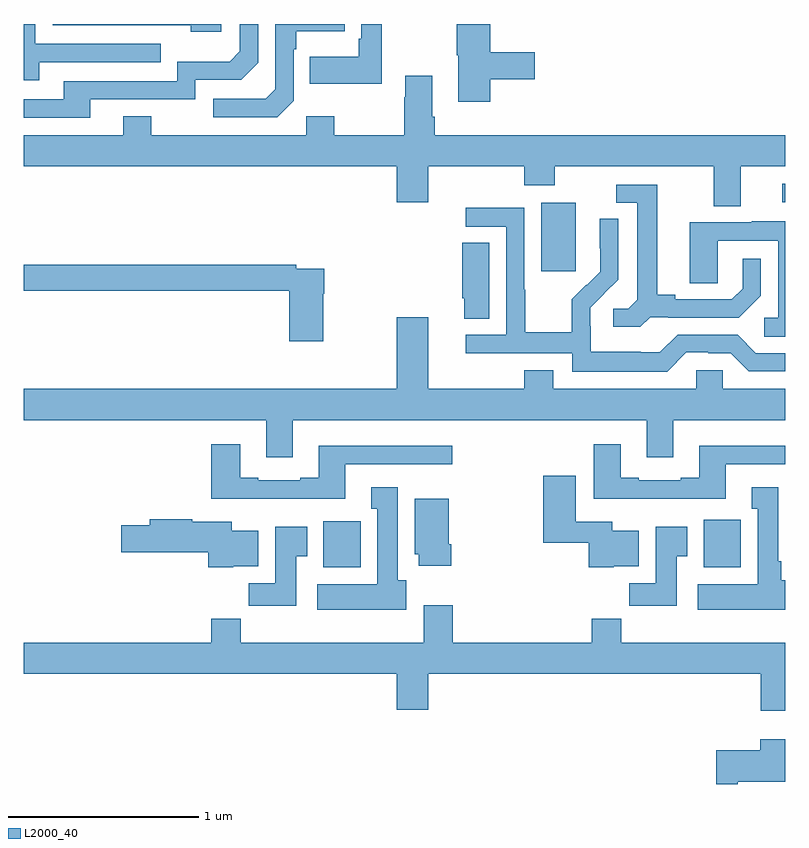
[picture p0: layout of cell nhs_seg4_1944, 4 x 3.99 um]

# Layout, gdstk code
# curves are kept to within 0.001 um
import gdstk
lib = gdstk.Library(unit=1e-6, precision=1e-09)
def R(c, l, rs):  # rectangles x0, y0, x1, y1
    for r in rs: c.add(gdstk.rectangle(r[:2], r[2:], *l))
def P(c, l, *ps):  # polygons
    for p in ps: c.add(gdstk.Polygon(p, *l))
L2000_40 = (2000, 40)

nhs_seg4_1944 = lib.new_cell('nhs_seg4_1944')
R(nhs_seg4_1944, L2000_40, [(212.573,796.046,212.77,796.288), (214.571,796.046,214.767,796.297), (213.719,797.601,213.898,797.962), (214.983,797.964,215,798.06)])
P(nhs_seg4_1944, L2000_40, [(213.449,798.61),(213.685,798.61),(213.685,798.752),(213.449,798.752),(213.449,798.9),(213.274,798.9),(213.274,798.735),(213.281,798.735),(213.281,798.492),(213.449,798.492)],
  [(212.418,798.498),(212.418,798.767),(212.431,798.767),(212.431,798.863),(212.687,798.863),(212.687,798.9),(212.322,798.9),(212.322,798.558),(212.271,798.507),(211.995,798.507),(211.995,798.411),(212.331,798.411)],
  [(211.081,798.699),(211.721,798.699),(211.721,798.795),(211.062,798.795),(211.062,798.9),(211,798.9),(211,798.605),(211.081,798.605)],
  [(212.881,798.9),(212.772,798.9),(212.772,798.823),(212.76,798.823),(212.76,798.727),(212.503,798.727),(212.503,798.587),(212.881,798.587)],
  [(212.038,798.9),(211.152,798.9),(211.152,798.894),(211.877,798.894),(211.877,798.86),(212.038,798.86)],
  [(211.351,798.504),(211.902,798.504),(211.902,798.606),(212.142,798.606),(212.232,798.696),(212.232,798.9),(212.136,798.9),(212.136,798.756),(212.083,798.703),(211.806,798.703),(211.806,798.6),(211.211,798.6),(211.211,798.504),(211,798.504),(211,798.408),(211.351,798.408)],
  [(214.765,798.152),(215,798.152),(215,798.316),(213.158,798.316),(213.158,798.412),(213.145,798.412),(213.145,798.628),(213.005,798.628),(213.005,798.515),(212.998,798.515),(212.998,798.316),(212.631,798.316),(212.631,798.415),(212.484,798.415),(212.484,798.316),(211.671,798.316),(211.671,798.415),(211.523,798.415),(211.523,798.316),(211,798.316),(211,798.152),(212.96,798.152),(212.96,797.964),(213.124,797.964),(213.124,798.152),(213.629,798.152),(213.629,798.053),(213.789,798.053),(213.789,798.152),(214.625,798.152),(214.625,797.944),(214.765,797.944)],
  [(214.29,797.361),(214.384,797.361),(214.384,797.358),(214.756,797.358),(214.872,797.474),(214.872,797.668),(214.775,797.668),(214.775,797.511),(214.718,797.454),(214.423,797.454),(214.423,797.477),(214.327,797.477),(214.327,798.057),(214.113,798.057),(214.113,797.961),(214.223,797.961),(214.223,797.453),(214.176,797.406),(214.095,797.406),(214.095,797.309),(214.238,797.309)],
  [(214.479,797.175),(214.595,797.175),(214.595,797.172),(214.713,797.172),(214.809,797.076),(215,797.076),(215,797.172),(214.845,797.172),(214.749,797.268),(214.434,797.268),(214.341,797.175),(214.241,797.175),(214.241,797.179),(213.978,797.179),(213.978,797.313),(213.976,797.313),(213.976,797.41),(214.122,797.558),(214.122,797.876),(214.026,797.876),(214.026,797.722),(214.028,797.722),(214.028,797.6),(213.957,797.529),(213.954,797.532),(213.877,797.455),(213.877,797.281),(213.633,797.281),(213.633,797.504),(213.63,797.504),(213.63,797.934),(213.321,797.934),(213.321,797.835),(213.534,797.835),(213.534,797.268),(213.321,797.268),(213.321,797.172),(213.882,797.172),(213.882,797.075),(214.379,797.075)],
  [(215,797.863),(214.823,797.863),(214.823,797.859),(214.499,797.859),(214.499,797.539),(214.644,797.539),(214.644,797.763),(214.962,797.763),(214.962,797.358),(214.89,797.358),(214.89,797.257),(215,797.257)],
  [(213.445,797.75),(213.302,797.75),(213.302,797.461),(213.314,797.461),(213.314,797.353),(213.445,797.353)],
  [(212.574,797.483),(212.579,797.483),(212.579,797.616),(212.432,797.616),(212.432,797.636),(211,797.636),(211,797.5),(212.396,797.5),(212.396,797.235),(212.574,797.235)],
  [(212.413,796.82),(214.271,796.82),(214.271,796.626),(214.411,796.626),(214.411,796.82),(215,796.82),(215,796.984),(214.671,796.984),(214.671,797.082),(214.533,797.082),(214.533,796.984),(213.781,796.984),(213.781,797.083),(213.629,797.083),(213.629,796.984),(213.124,796.984),(213.124,797.359),(212.96,797.359),(212.96,796.984),(211,796.984),(211,796.82),(212.273,796.82),(212.273,796.626),(212.413,796.626)],
  [(212.689,796.587),(213.25,796.587),(213.25,796.684),(212.549,796.684),(212.549,796.516),(212.453,796.516),(212.453,796.503),(212.233,796.503),(212.233,796.516),(212.137,796.516),(212.137,796.693),(211.985,796.693),(211.985,796.406),(212.689,796.406)],
  [(214.687,796.587),(215,796.587),(215,796.684),(214.547,796.684),(214.547,796.516),(214.451,796.516),(214.451,796.503),(214.231,796.503),(214.231,796.516),(214.135,796.516),(214.135,796.693),(213.995,796.693),(213.995,796.406),(214.687,796.406)],
  [(214.098,796.052),(214.231,796.052),(214.231,796.24),(214.09,796.24),(214.09,796.285),(213.898,796.285),(213.898,796.528),(213.728,796.528),(213.728,796.175),(213.968,796.175),(213.968,796.046),(214.098,796.046)],
  [(213.01,795.978),(212.965,795.978),(212.965,796.468),(212.825,796.468),(212.825,796.355),(212.858,796.355),(212.858,795.958),(212.541,795.958),(212.541,795.824),(213.01,795.824)],
  [(215,795.978),(214.978,795.978),(214.978,796.078),(214.963,796.078),(214.963,796.468),(214.823,796.468),(214.823,796.355),(214.856,796.355),(214.856,795.958),(214.539,795.958),(214.539,795.824),(215,795.824)],
  [(213.245,796.168),(213.232,796.168),(213.232,796.408),(213.053,796.408),(213.053,796.116),(213.074,796.116),(213.074,796.056),(213.245,796.056)],
  [(212.1,796.052),(212.233,796.052),(212.233,796.24),(212.092,796.24),(212.092,796.285),(211.886,796.285),(211.886,796.298),(211.661,796.298),(211.661,796.268),(211.512,796.268),(211.512,796.126),(211.97,796.126),(211.97,796.046),(212.1,796.046)],
  [(212.431,796.105),(212.488,796.105),(212.488,796.261),(212.321,796.261),(212.321,795.964),(212.182,795.964),(212.182,795.846),(212.431,795.846)],
  [(214.429,796.105),(214.486,796.105),(214.486,796.261),(214.319,796.261),(214.319,795.964),(214.18,795.964),(214.18,795.846),(214.429,795.846)],
  [(215,795.652),(214.139,795.652),(214.139,795.776),(213.983,795.776),(213.983,795.652),(213.254,795.652),(213.254,795.847),(213.101,795.847),(213.101,795.652),(212.141,795.652),(212.141,795.776),(211.985,795.776),(211.985,795.652),(211,795.652),(211,795.488),(212.96,795.488),(212.96,795.3),(213.124,795.3),(213.124,795.488),(214.871,795.488),(214.871,795.294),(215,795.294)],
  [(214.75,794.921),(215,794.921),(215,795.145),(214.868,795.145),(214.868,795.087),(214.638,795.087),(214.638,794.909),(214.75,794.909)])

lib.write_gds('nhs_seg4_1944.gds')
